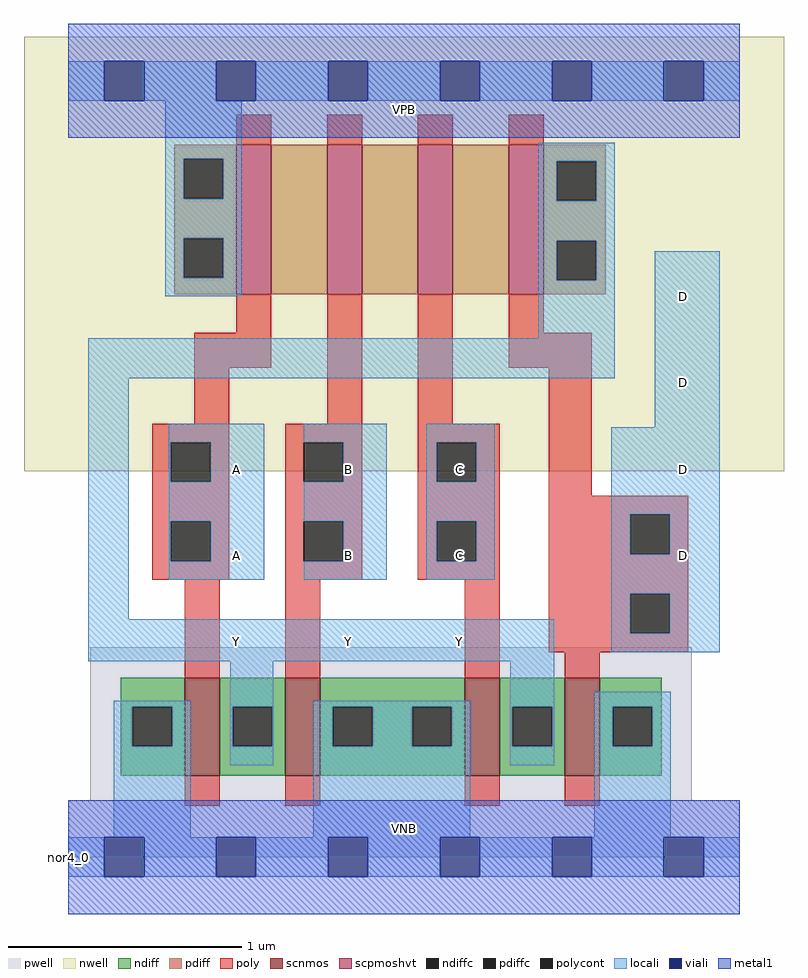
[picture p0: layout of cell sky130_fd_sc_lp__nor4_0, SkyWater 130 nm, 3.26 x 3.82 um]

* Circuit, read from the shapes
.subckt sky130_fd_sc_lp__nor4_0 A B C D VGND VNB VPB VPWR Y
XM1 Y A VGND VNB sky130_fd_pr__nfet_01v8 w=0.42 l=0.15
XM2 VGND B Y VNB sky130_fd_pr__nfet_01v8 w=0.42 l=0.15
XM3 Y C VGND VNB sky130_fd_pr__nfet_01v8 w=0.42 l=0.15
XM4 VGND D Y VNB sky130_fd_pr__nfet_01v8 w=0.42 l=0.15
XM5 n1 A VPWR VPB sky130_fd_pr__pfet_01v8_hvt w=0.64 l=0.15
XM6 n2 B n1 VPB sky130_fd_pr__pfet_01v8_hvt w=0.64 l=0.15
XM7 n3 C n2 VPB sky130_fd_pr__pfet_01v8_hvt w=0.64 l=0.15
XM8 Y D n3 VPB sky130_fd_pr__pfet_01v8_hvt w=0.64 l=0.15
.ends

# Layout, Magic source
magic
tech sky130A
magscale 1 2
<< nwell >>
rect -38 331 614 704
<< pwell >>
rect 19 49 535 180
rect 0 0 576 49
<< scnmos >>
rect 100 70 130 154
rect 186 70 216 154
rect 340 70 370 154
rect 426 70 456 154
<< scpmoshvt >>
rect 144 483 174 611
rect 222 483 252 611
rect 300 483 330 611
rect 378 483 408 611
<< ndiff >>
rect 45 129 100 154
rect 45 95 55 129
rect 89 95 100 129
rect 45 70 100 95
rect 130 129 186 154
rect 130 95 141 129
rect 175 95 186 129
rect 130 70 186 95
rect 216 129 340 154
rect 216 95 227 129
rect 261 95 295 129
rect 329 95 340 129
rect 216 70 340 95
rect 370 129 426 154
rect 370 95 381 129
rect 415 95 426 129
rect 370 70 426 95
rect 456 129 509 154
rect 456 95 467 129
rect 501 95 509 129
rect 456 70 509 95
<< pdiff >>
rect 91 599 144 611
rect 91 565 99 599
rect 133 565 144 599
rect 91 531 144 565
rect 91 497 99 531
rect 133 497 144 531
rect 91 483 144 497
rect 174 483 222 611
rect 252 483 300 611
rect 330 483 378 611
rect 408 597 461 611
rect 408 563 419 597
rect 453 563 461 597
rect 408 529 461 563
rect 408 495 419 529
rect 453 495 461 529
rect 408 483 461 495
<< ndiffc >>
rect 55 95 89 129
rect 141 95 175 129
rect 227 95 261 129
rect 295 95 329 129
rect 381 95 415 129
rect 467 95 501 129
<< pdiffc >>
rect 99 565 133 599
rect 99 497 133 531
rect 419 563 453 597
rect 419 495 453 529
<< poly >>
rect 144 611 174 637
rect 222 611 252 637
rect 300 611 330 637
rect 378 611 408 637
rect 144 450 174 483
rect 108 420 174 450
rect 108 372 138 420
rect 222 372 252 483
rect 72 356 138 372
rect 72 322 88 356
rect 122 322 138 356
rect 72 288 138 322
rect 72 254 88 288
rect 122 254 138 288
rect 72 238 138 254
rect 186 356 252 372
rect 186 322 202 356
rect 236 322 252 356
rect 186 288 252 322
rect 186 254 202 288
rect 236 254 252 288
rect 186 238 252 254
rect 300 372 330 483
rect 378 450 408 483
rect 378 420 449 450
rect 300 356 370 372
rect 300 322 316 356
rect 350 322 370 356
rect 300 288 370 322
rect 300 254 316 288
rect 350 254 370 288
rect 300 238 370 254
rect 100 154 130 238
rect 186 154 216 238
rect 340 154 370 238
rect 412 310 449 420
rect 412 294 532 310
rect 412 260 482 294
rect 516 260 532 294
rect 412 226 532 260
rect 412 192 482 226
rect 516 192 532 226
rect 412 176 532 192
rect 426 154 456 176
rect 100 44 130 70
rect 186 44 216 70
rect 340 44 370 70
rect 426 44 456 70
<< polycont >>
rect 88 322 122 356
rect 88 254 122 288
rect 202 322 236 356
rect 202 254 236 288
rect 316 322 350 356
rect 316 254 350 288
rect 482 260 516 294
rect 482 192 516 226
<< locali >>
rect 0 649 31 683
rect 65 649 127 683
rect 161 649 223 683
rect 257 649 319 683
rect 353 649 415 683
rect 449 649 511 683
rect 545 649 576 683
rect 83 599 149 649
rect 83 565 99 599
rect 133 565 149 599
rect 83 531 149 565
rect 83 497 99 531
rect 133 497 149 531
rect 83 481 149 497
rect 403 597 469 613
rect 403 563 419 597
rect 453 563 469 597
rect 403 529 469 563
rect 403 495 419 529
rect 453 495 469 529
rect 403 445 469 495
rect 17 411 469 445
rect 17 204 52 411
rect 86 356 168 372
rect 86 322 88 356
rect 122 322 168 356
rect 86 288 168 322
rect 86 254 88 288
rect 122 254 168 288
rect 86 238 168 254
rect 202 356 273 372
rect 236 322 273 356
rect 202 288 273 322
rect 236 254 273 288
rect 202 238 273 254
rect 307 356 366 372
rect 503 369 559 520
rect 307 322 316 356
rect 350 322 366 356
rect 307 288 366 322
rect 307 254 316 288
rect 350 254 366 288
rect 307 238 366 254
rect 466 294 559 369
rect 466 260 482 294
rect 516 260 559 294
rect 466 226 559 260
rect 17 168 417 204
rect 466 192 482 226
rect 516 192 559 226
rect 466 176 559 192
rect 39 129 105 134
rect 39 95 55 129
rect 89 95 105 129
rect 39 17 105 95
rect 139 129 176 168
rect 139 95 141 129
rect 175 95 176 129
rect 139 79 176 95
rect 210 129 345 134
rect 210 95 227 129
rect 261 95 295 129
rect 329 95 345 129
rect 210 17 345 95
rect 379 129 417 168
rect 379 95 381 129
rect 415 95 417 129
rect 379 79 417 95
rect 451 129 517 142
rect 451 95 467 129
rect 501 95 517 129
rect 451 17 517 95
rect 0 -17 31 17
rect 65 -17 127 17
rect 161 -17 223 17
rect 257 -17 319 17
rect 353 -17 415 17
rect 449 -17 511 17
rect 545 -17 576 17
<< viali >>
rect 31 649 65 683
rect 127 649 161 683
rect 223 649 257 683
rect 319 649 353 683
rect 415 649 449 683
rect 511 649 545 683
rect 31 -17 65 17
rect 127 -17 161 17
rect 223 -17 257 17
rect 319 -17 353 17
rect 415 -17 449 17
rect 511 -17 545 17
<< metal1 >>
rect 0 683 576 715
rect 0 649 31 683
rect 65 649 127 683
rect 161 649 223 683
rect 257 649 319 683
rect 353 649 415 683
rect 449 649 511 683
rect 545 649 576 683
rect 0 617 576 649
rect 0 17 576 49
rect 0 -17 31 17
rect 65 -17 127 17
rect 161 -17 223 17
rect 257 -17 319 17
rect 353 -17 415 17
rect 449 -17 511 17
rect 545 -17 576 17
rect 0 -49 576 -17
<< labels >>
flabel pwell s 0 0 576 49 0 FreeSans 200 0 0 0 VNB
port 6 nsew ground bidirectional
flabel nwell s 0 617 576 666 0 FreeSans 200 0 0 0 VPB
port 7 nsew power bidirectional
rlabel comment s 0 0 0 0 4 nor4_0
flabel metal1 s 0 617 576 666 0 FreeSans 340 0 0 0 VPWR
port 8 nsew power bidirectional
flabel metal1 s 0 0 576 49 0 FreeSans 340 0 0 0 VGND
port 5 nsew ground bidirectional
flabel locali s 127 242 161 276 0 FreeSans 340 0 0 0 A
port 1 nsew signal input
flabel locali s 127 316 161 350 0 FreeSans 340 0 0 0 A
port 1 nsew signal input
flabel locali s 511 390 545 424 0 FreeSans 340 0 0 0 D
port 4 nsew signal input
flabel locali s 511 242 545 276 0 FreeSans 340 0 0 0 D
port 4 nsew signal input
flabel locali s 511 316 545 350 0 FreeSans 340 0 0 0 D
port 4 nsew signal input
flabel locali s 127 168 161 202 0 FreeSans 340 0 0 0 Y
port 9 nsew signal output
flabel locali s 223 168 257 202 0 FreeSans 340 0 0 0 Y
port 9 nsew signal output
flabel locali s 319 168 353 202 0 FreeSans 340 0 0 0 Y
port 9 nsew signal output
flabel locali s 223 242 257 276 0 FreeSans 340 0 0 0 B
port 2 nsew signal input
flabel locali s 223 316 257 350 0 FreeSans 340 0 0 0 B
port 2 nsew signal input
flabel locali s 319 242 353 276 0 FreeSans 340 0 0 0 C
port 3 nsew signal input
flabel locali s 319 316 353 350 0 FreeSans 340 0 0 0 C
port 3 nsew signal input
flabel locali s 511 464 545 498 0 FreeSans 340 0 0 0 D
port 4 nsew signal input
<< properties >>
string LEFsite unit
string LEFclass CORE
string FIXED_BBOX 0 0 576 666
string GDS_FILE $PDKPATH/libs.ref/sky130_fd_sc_lp/gds/sky130_fd_sc_lp.gds
string LEFsymmetry X Y R90
string GDS_END 4187916
string GDS_START 4181706
<< end >>
